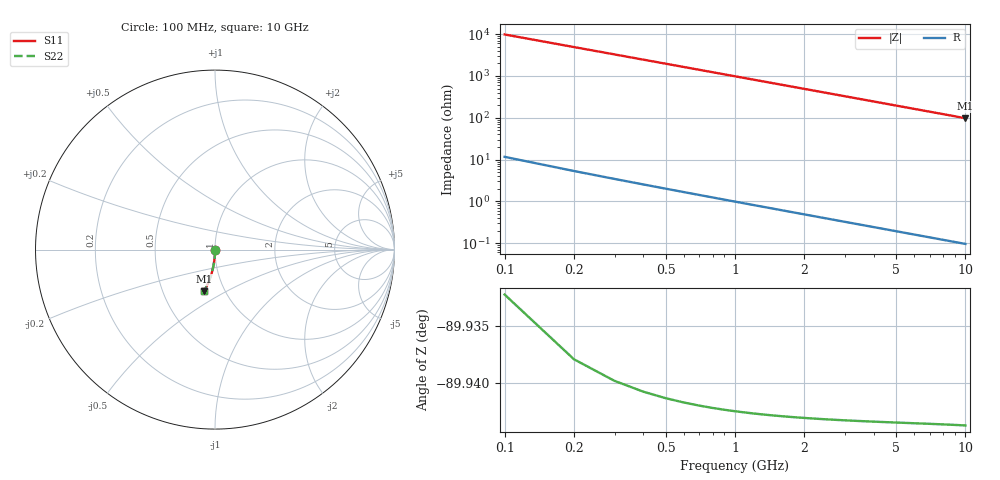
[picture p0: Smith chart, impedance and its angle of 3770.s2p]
# Hz S RI R 50.00
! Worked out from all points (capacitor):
!   100 points, 100 MHz to 10 GHz, reference 50 ohm
!   read as one part in shunt: C = 162 fF near 100 MHz
!   lowest |Z| = 97.8 ohm at 10 GHz (marker M1)
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1e8  1.73e-05 -0.00246  1 -0.00262  1 -0.00262  1.73e-05 -0.00246
2e8  -4.3e-06 -0.00492  0.9999 -0.00523  0.9999 -0.00523  -4.3e-06 -0.00492
3e8  -3.89e-05 -0.00738  0.9999 -0.00785  0.9999 -0.00785  -3.89e-05 -0.00738
4e8  -8.63e-05 -0.00984  0.9999 -0.0105  0.9999 -0.0105  -8.63e-05 -0.00984
5e8  -0.000147 -0.0123  0.9998 -0.0131  0.9998 -0.0131  -0.000147 -0.0123
6e8  -0.00022 -0.0148  0.9997 -0.0157  0.9997 -0.0157  -0.00022 -0.0148
7e8  -0.000306 -0.0172  0.9996 -0.0183  0.9996 -0.0183  -0.000306 -0.0172
8e8  -0.000405 -0.0197  0.9995 -0.0209  0.9995 -0.0209  -0.000405 -0.0197
9e8  -0.000517 -0.0221  0.9994 -0.0235  0.9994 -0.0235  -0.000517 -0.0221
1.1e9  -0.000779 -0.0271  0.9992 -0.0288  0.9992 -0.0288  -0.000779 -0.0271
1.4e9  -0.00127 -0.0344  0.9987 -0.0366  0.9987 -0.0366  -0.00127 -0.0344
1.8e9  -0.0021 -0.0442  0.9978 -0.047  0.9978 -0.047  -0.0021 -0.0442
2.1e9  -0.00286 -0.0516  0.9971 -0.0548  0.9971 -0.0548  -0.00286 -0.0516
2.5e9  -0.00405 -0.0614  0.9959 -0.0652  0.9959 -0.0652  -0.00405 -0.0614
2.9e9  -0.00545 -0.0711  0.9945 -0.0756  0.9945 -0.0756  -0.00545 -0.0711
3.4e9  -0.00747 -0.0832  0.9925 -0.0885  0.9925 -0.0885  -0.00747 -0.0832
4.2e9  -0.0114 -0.1024  0.9886 -0.109  0.9886 -0.109  -0.0114 -0.1024
5.1e9  -0.0167 -0.1238  0.9832 -0.1317  0.9832 -0.1317  -0.0167 -0.1238
5.9e9  -0.0222 -0.1425  0.9777 -0.1517  0.9777 -0.1517  -0.0222 -0.1425
6.7e9  -0.0285 -0.1609  0.9714 -0.1713  0.9714 -0.1713  -0.0285 -0.1609
8.4e9  -0.0442 -0.1987  0.9556 -0.2118  0.9556 -0.2118  -0.0442 -0.1987
1e10  -0.0617 -0.2324  0.9381 -0.2481  0.9381 -0.2481  -0.0617 -0.2324
